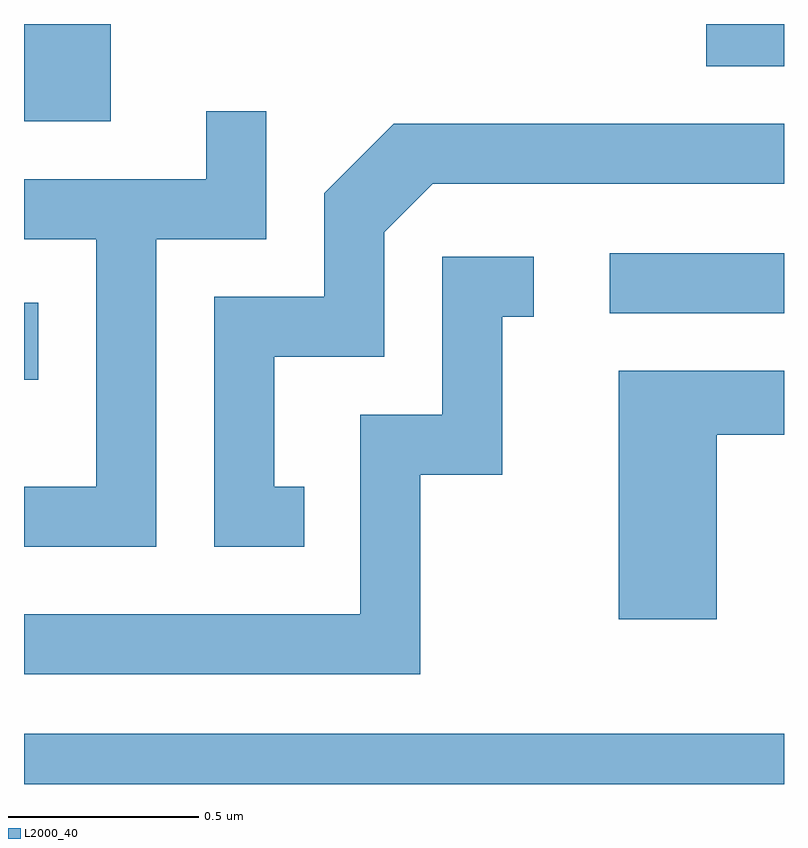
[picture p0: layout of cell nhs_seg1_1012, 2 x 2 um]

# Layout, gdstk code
import gdstk
lib = gdstk.Library(unit=1e-6, precision=1e-09)
def R(c, l, rs):  # rectangles x0, y0, x1, y1
    for r in rs: c.add(gdstk.rectangle(r[:2], r[2:], *l))
def P(c, l, *ps):  # polygons
    for p in ps: c.add(gdstk.Polygon(p, *l))
L2000_40 = (2000, 40)

nhs_seg1_1012 = lib.new_cell('nhs_seg1_1012')
R(nhs_seg1_1012, L2000_40, [(192.611,899.712,194.611,899.844), (192.611,900.776,192.649,900.979), (194.153,900.951,194.611,901.109), (192.611,901.456,192.839,901.712), (194.406,901.601,194.611,901.712)])
P(nhs_seg1_1012, L2000_40, [(192.959,901.146),(193.249,901.146),(193.249,901.483),(193.091,901.483),(193.091,901.304),(192.611,901.304),(192.611,901.146),(192.801,901.146),(192.801,900.494),(192.611,900.494),(192.611,900.336),(192.959,900.336)],
  [(193.348,900.494),(193.269,900.494),(193.269,900.836),(193.559,900.836),(193.559,901.164),(193.687,901.291),(194.611,901.291),(194.611,901.449),(193.584,901.449),(193.401,901.267),(193.401,900.994),(193.111,900.994),(193.111,900.336),(193.348,900.336)],
  [(193.654,900.526),(193.869,900.526),(193.869,900.941),(193.953,900.941),(193.953,901.099),(193.711,901.099),(193.711,900.684),(193.496,900.684),(193.496,900.159),(192.611,900.159),(192.611,900.001),(193.654,900.001)],
  [(194.434,900.631),(194.611,900.631),(194.611,900.799),(194.176,900.799),(194.176,900.146),(194.434,900.146)])

lib.write_gds('nhs_seg1_1012.gds')
